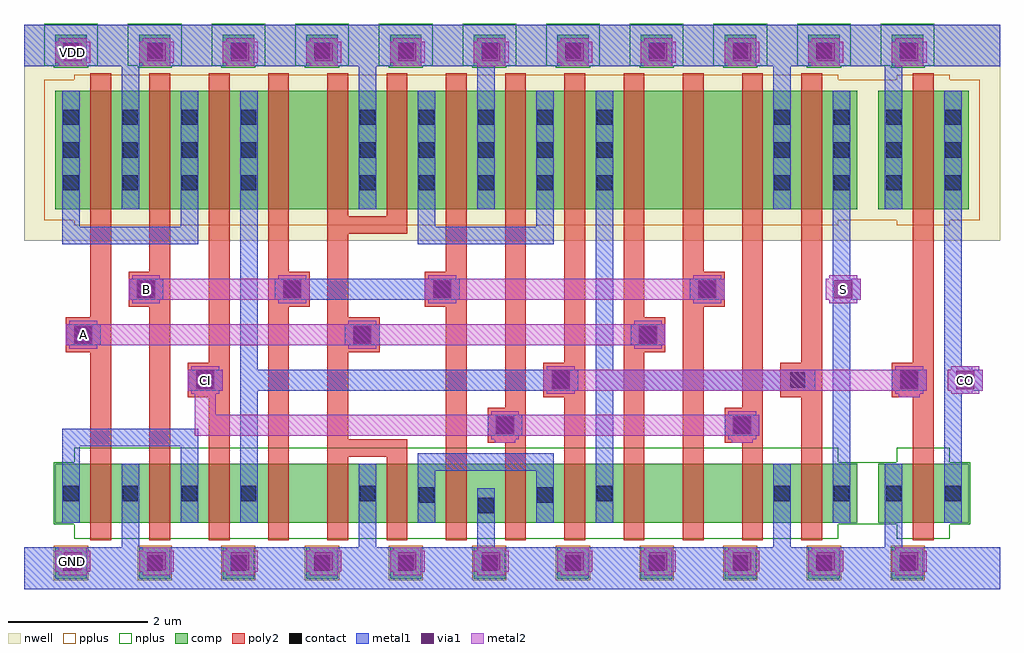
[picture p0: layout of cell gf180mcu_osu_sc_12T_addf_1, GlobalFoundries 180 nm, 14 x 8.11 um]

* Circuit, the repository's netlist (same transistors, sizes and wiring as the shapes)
.inc "../../char/techfiles/design.hspice"
.lib "../../char/techfiles/sm141064.hspice" typical

.GLOBAL VDD
.GLOBAL GND

.option scale=0.05u

.subckt gf180mcu_osu_sc_12T_addf_1 A B CI CO S
X0 a_110_109 A VDD VDD pmos_3p3 w=34 l=6
X1 S a_161_19 VDD VDD pmos_3p3 w=34 l=6
X2 S a_161_19 GND GND nmos_3p3 w=17 l=6
X3 VDD CI a_195_109 VDD pmos_3p3 w=34 l=6
X4 a_195_19 B a_178_19 GND nmos_3p3 w=17 l=6
X5 a_76_109 B a_59_19 VDD pmos_3p3 w=34 l=6
X6 VDD A a_76_109 VDD pmos_3p3 w=34 l=6
X7 a_59_19 CI a_9_109 VDD pmos_3p3 w=34 l=6
X8 a_178_19 A a_161_19 GND nmos_3p3 w=17 l=6
X9 a_9_109 B VDD VDD pmos_3p3 w=34 l=6
X10 a_110_19 CI GND GND nmos_3p3 w=17 l=6
X11 VDD A a_9_109 VDD pmos_3p3 w=34 l=6
X12 a_59_19 CI a_9_19 GND nmos_3p3 w=17 l=6
X13 GND B a_110_19 GND nmos_3p3 w=17 l=6
X14 GND A a_9_19 GND nmos_3p3 w=17 l=6
X15 CO a_59_19 GND GND nmos_3p3 w=17 l=6
X16 GND CI a_195_19 GND nmos_3p3 w=17 l=6
X17 CO a_59_19 VDD VDD pmos_3p3 w=34 l=6
X18 GND A a_76_19 GND nmos_3p3 w=17 l=6
X19 a_161_19 a_59_19 a_110_19 GND nmos_3p3 w=17 l=6
X20 a_76_19 B a_59_19 GND nmos_3p3 w=17 l=6
X21 a_178_109 A a_161_19 VDD pmos_3p3 w=34 l=6
X22 a_195_109 B a_178_109 VDD pmos_3p3 w=34 l=6
X23 a_9_19 B GND GND nmos_3p3 w=17 l=6
X24 a_110_19 A GND GND nmos_3p3 w=17 l=6
X25 a_161_19 a_59_19 a_110_109 VDD pmos_3p3 w=34 l=6
X26 VDD B a_110_109 VDD pmos_3p3 w=34 l=6
X27 a_110_109 CI VDD VDD pmos_3p3 w=34 l=6
.ends

** hspice subcircuit dictionary

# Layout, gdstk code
import gdstk
lib = gdstk.Library(unit=1e-6, precision=1e-09)
def R(c, l, rs):  # rectangles x0, y0, x1, y1
    for r in rs: c.add(gdstk.rectangle(r[:2], r[2:], *l))
def A(c, l, x, y, w, h, nx, ny, dx, dy):  # array of equal rectangles
    R(c, l, [(x+i*dx, y+j*dy, x+i*dx+w, y+j*dy+h) for i in range(nx) for j in range(ny)])
nwell = (21, 0)
comp = (22, 0)
poly2 = (30, 0)
pplus = (31, 0)
nplus = (32, 0)
contact = (33, 0)
metal1 = (34, 0)
via1 = (35, 0)
metal2 = (36, 0)

gf180mcu_osu_sc_12t_addf = lib.new_cell('gf180mcu_osu_sc_12T_addf_1')
R(gf180mcu_osu_sc_12t_addf, nwell, [(0,5,14,8.1)])
A(gf180mcu_osu_sc_12t_addf, comp, 0.45, 0.15, 0.45, 0.45, 11, 2, 1.2, 7.35)
R(gf180mcu_osu_sc_12t_addf, comp, [(0.45,0.95,11.95,1.8), (12.25,0.95,13.55,1.8), (0.45,5.45,11.95,7.15), (12.25,5.45,13.55,7.15)])
R(gf180mcu_osu_sc_12t_addf, poly2, [(0.95,0.7,1.25,3.4), (1.8,0.7,2.1,4.05), (2.65,0.7,2.95,2.75), (3.5,0.7,3.8,4.05), (4.35,0.7,4.65,1.9), (5.2,0.7,5.5,1.9), (6.05,0.7,6.35,4.05), (6.9,0.7,7.2,2.1), (7.75,0.7,8.05,2.75), (8.6,0.7,8.9,3.4), (9.45,0.7,9.75,4.05), (10.3,0.7,10.6,2.1), (11.15,0.7,11.45,2.75), (12.75,0.7,13.05,2.75), (4.35,1.9,5.5,2.15), (6.65,2.1,7.2,2.6), (10.05,2.1,10.6,2.6), (4.35,2.15,4.65,3.4), (6.9,2.6,7.2,7.4), (10.3,2.6,10.6,7.4), (2.35,2.75,2.95,3.25), (7.45,2.75,8.05,3.25), (10.85,2.75,11.45,3.25), (12.45,2.75,13.05,3.25), (2.65,3.25,2.95,7.4), (7.75,3.25,8.05,7.4), (11.15,3.25,11.45,7.4), (12.75,3.25,13.05,7.4), (0.6,3.4,1.25,3.9), (4.35,3.4,5.1,3.9), (8.6,3.4,9.2,3.9), (0.95,3.9,1.25,7.4), (4.35,3.9,4.65,5.1), (8.6,3.9,8.9,7.4), (1.5,4.05,2.1,4.55), (3.5,4.05,4.1,4.55), (5.75,4.05,6.35,4.55), (9.45,4.05,10.05,4.55), (1.8,4.55,2.1,7.4), (3.5,4.55,3.8,7.4), (6.05,4.55,6.35,7.4), (9.45,4.55,9.75,7.4), (4.35,5.1,5.5,5.35), (4.35,5.35,4.65,7.4), (5.2,5.35,5.5,7.4)])
A(gf180mcu_osu_sc_12t_addf, pplus, 0.43, 0.13, 0.49, 0.49, 11, 1, 1.2, 0)
R(gf180mcu_osu_sc_12t_addf, pplus, [(0.72,5.22,11.68,5.29), (12.52,5.22,13.28,5.29), (0.29,5.29,13.71,7.31), (0.72,7.31,11.68,7.38), (12.52,7.31,13.28,7.38)])
A(gf180mcu_osu_sc_12t_addf, nplus, 0.43, 7.48, 0.49, 0.03, 11, 1, 1.2, 0)
A(gf180mcu_osu_sc_12t_addf, nplus, 0.29, 7.51, 0.77, 0.6, 11, 1, 1.2, 0)
R(gf180mcu_osu_sc_12t_addf, nplus, [(0.72,0.72,11.68,0.93), (12.52,0.72,13.28,0.93), (0.43,0.93,13.57,1.82), (0.72,1.82,11.68,2.03), (12.52,1.82,13.28,2.03)])
A(gf180mcu_osu_sc_12t_addf, contact, 0.565, 0.265, 0.22, 0.22, 11, 2, 1.2, 7.35)
A(gf180mcu_osu_sc_12t_addf, contact, 0.565, 1.265, 0.22, 0.22, 4, 2, 0.85, 4.455)
A(gf180mcu_osu_sc_12t_addf, contact, 4.815, 5.72, 0.22, 0.22, 5, 3, 0.85, 0.47)
A(gf180mcu_osu_sc_12t_addf, contact, 10.765, 5.72, 0.22, 0.22, 1, 3, 0, 0.47)
A(gf180mcu_osu_sc_12t_addf, contact, 11.615, 5.72, 0.22, 0.22, 1, 3, 0, 0.47)
A(gf180mcu_osu_sc_12t_addf, contact, 12.365, 5.72, 0.22, 0.22, 1, 3, 0, 0.47)
A(gf180mcu_osu_sc_12t_addf, contact, 13.215, 5.72, 0.22, 0.22, 1, 3, 0, 0.47)
A(gf180mcu_osu_sc_12t_addf, contact, 0.565, 6.19, 0.22, 0.22, 4, 2, 0.85, 0.47)
R(gf180mcu_osu_sc_12t_addf, contact, [(6.515,1.09,6.735,1.31), (5.665,1.24,5.885,1.46), (7.365,1.24,7.585,1.46), (4.815,1.265,5.035,1.485), (8.215,1.265,8.435,1.485), (10.765,1.265,10.985,1.485), (11.615,1.265,11.835,1.485), (12.365,1.265,12.585,1.485), (13.215,1.265,13.435,1.485), (6.79,2.24,7.01,2.46), (10.19,2.24,10.41,2.46), (2.49,2.89,2.71,3.11), (7.59,2.89,7.81,3.11), (10.99,2.89,11.21,3.11), (12.59,2.89,12.81,3.11), (0.74,3.54,0.96,3.76), (4.74,3.54,4.96,3.76), (8.84,3.54,9.06,3.76), (1.64,4.19,1.86,4.41), (3.74,4.19,3.96,4.41), (5.89,4.19,6.11,4.41), (9.69,4.19,9.91,4.41)])
R(gf180mcu_osu_sc_12t_addf, metal1, [(0,0,14,0.6), (1.4,0.6,1.65,1.8), (4.8,0.6,5.05,1.8), (6.5,0.6,6.75,1.45), (10.75,0.6,11,1.8), (12.35,0.6,12.6,1.8), (0.55,0.95,0.8,2.05), (2.25,0.95,2.5,2.05), (3.1,0.95,3.35,2.85), (5.65,0.95,5.9,1.7), (7.35,0.95,7.6,1.7), (8.2,0.95,8.45,2.85), (11.6,0.95,11.85,4.15), (13.2,0.95,13.45,2.8), (5.65,1.7,7.6,1.95), (0.55,2.05,2.5,2.3), (6.65,2.2,7.15,2.5), (10.05,2.2,10.55,2.5), (13.2,2.8,13.6,2.85), (2.35,2.85,2.85,3.15), (3.1,2.85,7.95,3.15), (8.2,2.85,11.35,3.15), (12.45,2.85,12.95,3.15), (13.2,2.85,13.75,3.15), (3.1,3.15,3.35,7.15), (8.2,3.15,8.45,7.15), (13.2,3.15,13.6,3.2), (13.2,3.2,13.45,7.15), (0.6,3.5,1.1,3.8), (4.6,3.5,5.1,3.8), (8.7,3.5,9.2,3.8), (1.5,4.15,2,4.45), (3.6,4.15,6.25,4.45), (9.55,4.15,10.05,4.45), (11.6,4.15,12,4.45), (11.6,4.45,11.85,7.15), (0.55,4.95,2.5,5.2), (5.65,4.95,7.6,5.2), (0.55,5.2,0.8,7.15), (2.25,5.2,2.5,7.15), (5.65,5.2,5.9,7.15), (7.35,5.2,7.6,7.15), (1.4,5.45,1.65,7.5), (4.8,5.45,5.05,7.5), (6.5,5.45,6.75,7.5), (10.75,5.45,11,7.5), (12.35,5.45,12.6,7.5), (0,7.5,14,8.1)])
A(gf180mcu_osu_sc_12t_addf, via1, 0.57, 0.27, 0.26, 0.26, 11, 2, 1.2, 7.3)
R(gf180mcu_osu_sc_12t_addf, via1, [(6.77,2.22,7.03,2.48), (10.17,2.22,10.43,2.48), (2.47,2.87,2.73,3.13), (7.57,2.87,7.83,3.13), (12.57,2.87,12.83,3.13), (13.37,2.87,13.63,3.13), (0.72,3.52,0.98,3.78), (4.72,3.52,4.98,3.78), (8.82,3.52,9.08,3.78), (1.62,4.17,1.88,4.43), (3.72,4.17,3.98,4.43), (5.87,4.17,6.13,4.43), (9.67,4.17,9.93,4.43), (11.62,4.17,11.88,4.43)])
A(gf180mcu_osu_sc_12t_addf, metal2, 0.5, 0.2, 0.4, 0.05, 11, 2, 1.2, 0.35)
A(gf180mcu_osu_sc_12t_addf, metal2, 0.45, 0.25, 0.5, 0.3, 11, 2, 1.2, 7.3)
A(gf180mcu_osu_sc_12t_addf, metal2, 0.5, 7.5, 0.4, 0.05, 11, 2, 1.2, 0.35)
R(gf180mcu_osu_sc_12t_addf, metal2, [(6.75,2.1,7.05,2.15), (10.15,2.1,10.45,2.15), (6.7,2.15,7.1,2.2), (10.1,2.15,10.5,2.2), (2.45,2.2,10.55,2.5), (2.45,2.5,2.75,2.8), (6.7,2.5,7.1,2.55), (10.1,2.5,10.5,2.55), (12.55,2.75,12.85,2.8), (2.4,2.8,2.8,2.85), (7.5,2.8,7.9,2.85), (12.5,2.8,12.9,2.85), (13.3,2.8,13.7,2.85), (2.35,2.85,2.85,3.15), (7.45,2.85,12.95,3.15), (13.25,2.85,13.75,3.15), (2.4,3.15,2.8,3.2), (7.5,3.15,7.9,3.2), (12.5,3.15,12.9,3.2), (13.3,3.15,13.7,3.2), (0.65,3.45,1.05,3.5), (4.65,3.45,5.05,3.5), (8.75,3.45,9.15,3.5), (0.6,3.5,9.2,3.8), (0.65,3.8,1.05,3.85), (4.65,3.8,5.05,3.85), (8.75,3.8,9.15,3.85), (1.55,4.1,1.95,4.15), (3.65,4.1,4.05,4.15), (5.8,4.1,6.2,4.15), (9.6,4.1,10,4.15), (11.55,4.1,11.95,4.15), (1.5,4.15,4.1,4.45), (5.75,4.15,10.05,4.45), (11.5,4.15,12,4.45), (1.55,4.45,1.95,4.5), (3.65,4.45,4.05,4.5), (5.8,4.45,6.2,4.5), (9.6,4.45,10,4.5), (11.55,4.45,11.95,4.5)])
gf180mcu_osu_sc_12t_addf.add(gdstk.Label('GND', (0.7,0.4), layer=36, texttype=0))
gf180mcu_osu_sc_12t_addf.add(gdstk.Label('VDD', (0.7,7.7), layer=36, texttype=0))
gf180mcu_osu_sc_12t_addf.add(gdstk.Label('A', (0.85,3.65), layer=36, texttype=10))
gf180mcu_osu_sc_12t_addf.add(gdstk.Label('B', (1.75,4.3), layer=36, texttype=10))
gf180mcu_osu_sc_12t_addf.add(gdstk.Label('CI', (2.6,3), layer=36, texttype=10))
gf180mcu_osu_sc_12t_addf.add(gdstk.Label('CO', (13.5,3), layer=36, texttype=10))
gf180mcu_osu_sc_12t_addf.add(gdstk.Label('S', (11.75,4.3), layer=36, texttype=10))

lib.write_gds('gf180mcu_osu_sc_12T_addf_1.gds')
